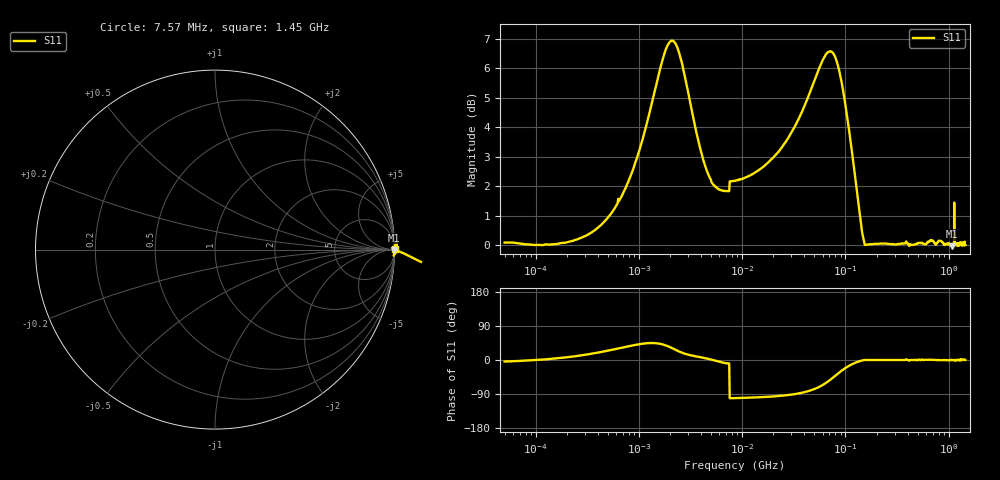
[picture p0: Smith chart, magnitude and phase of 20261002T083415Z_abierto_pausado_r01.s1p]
! piloto_saltos / abierto_pausado / r01
# HZ S RI R 50
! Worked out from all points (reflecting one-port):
!   501 points, 50 kHz to 1.45 GHz, reference 50 ohm
!   lowest |S11| = 0.0 dB at 1.072 GHz (marker M1), VSWR 470.53, Z = 1.84e+04 - j9.73e+03 ohm
!   phase of S11 starts at -4 deg and turns +4 deg over the sweep
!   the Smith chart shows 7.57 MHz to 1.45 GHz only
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50000  1.007 -0.0704
183000  1.003 0.1053
363500  1.008 0.3165
658000  1.021 0.6261
1180000  1.146 1.112
1630000  1.489 1.353
1990000  1.83 1.239
2440000  1.959 0.816
3340000  1.62 0.3182
4690000  1.316 0.0685
7300000  1.219 -0.1931
7750000  -0.2421 -1.261
8560000  -0.2351 -1.263
1.81e7  -0.17 -1.373
3.16e7  -0.0122 -1.578
4.69e7  0.3396 -1.813
5.68e7  0.6972 -1.884
6.49e7  1.048 -1.828
7.39e7  1.4 -1.599
8.74e7  1.655 -1.063
9.82e7  1.627 -0.6733
1e8  1.61 -0.619
1.18e8  1.378 -0.2445
1.36e8  1.148 -0.0686
1.63e8  1.002 4.1e-05
4.06e8  1.005 0.000283
1.072e9  0.9958 -0.00224
1.45e9  1.001 0.00472
